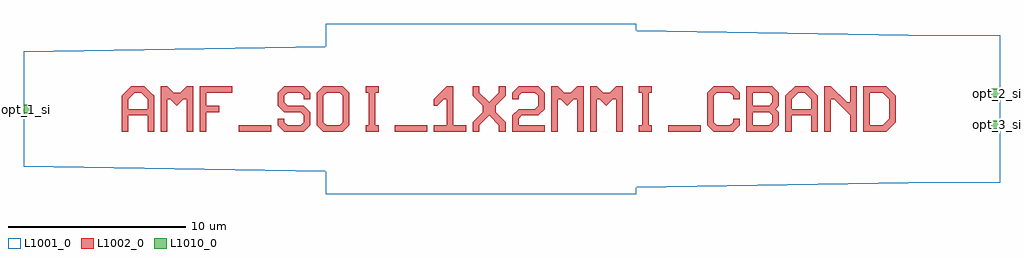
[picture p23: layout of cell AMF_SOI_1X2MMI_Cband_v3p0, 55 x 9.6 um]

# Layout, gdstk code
import gdstk
lib = gdstk.Library(unit=1e-6, precision=1e-09)
def R(c, l, rs):  # rectangles x0, y0, x1, y1
    for r in rs: c.add(gdstk.rectangle(r[:2], r[2:], *l))
def P(c, l, *ps):  # polygons
    for p in ps: c.add(gdstk.Polygon(p, *l))
L1001_0 = (1001, 0)
L1002_0 = (1002, 0)
L1010_0 = (1010, 0)

amf_soi_1x2mmi_cband_v3p = lib.new_cell('AMF_SOI_1X2MMI_Cband_v3p0')
P(amf_soi_1x2mmi_cband_v3p, L1001_0, [(17,-4.8),(17,-3.548),(0,-3.251),(0,3.25),(17,3.548),(17,4.8),(34.5,4.8),(34.5,4.448),(51.552,4.15),(55,4.15),(55,-4.15),(51.552,-4.15),(34.5,-4.448),(34.5,-4.8)])
R(amf_soi_1x2mmi_cband_v3p, L1002_0, [(12.1,-1.283,13.934,-0.916), (20.9,-1.283,22.734,-0.916), (36.3,-1.283,38.134,-0.916)])
P(amf_soi_1x2mmi_cband_v3p, L1002_0, [(5.5,-1.283),(5.5,0.734),(6.05,1.284),(6.783,1.284),(7.15,0.917),(6.233,0.917),(5.867,0.551),(5.867,0),(6.967,0),(6.967,0.551),(6.6,0.917),(7.15,0.917),(7.334,0.734),(7.334,-1.283),(6.967,-1.283),(6.967,-0.366),(5.867,-0.366),(5.867,-1.283)],
  [(7.7,-1.283),(7.7,1.284),(8.067,1.284),(8.433,0.917),(8.8,0.917),(9.167,1.284),(9.534,1.284),(9.534,-1.283),(9.167,-1.283),(9.167,0.551),(8.983,0.551),(8.617,0.184),(8.25,0.551),(8.067,0.551),(8.067,-1.283)],
  [(9.9,-1.283),(9.9,1.284),(11.734,1.284),(11.734,0.917),(10.267,0.917),(10.267,0.184),(11,0.184),(11,-0.183),(10.267,-0.183),(10.267,-1.283)],
  [(14.667,-1.283),(14.3,-0.916),(14.3,-0.55),(14.667,-0.55),(14.667,-0.733),(14.85,-0.916),(15.583,-0.916),(15.767,-0.733),(15.767,-0.366),(15.583,-0.183),(14.667,-0.183),(14.3,0.184),(14.3,0.917),(14.667,1.284),(15.767,1.284),(16.134,0.917),(16.134,0.551),(15.767,0.551),(15.767,0.734),(15.583,0.917),(14.85,0.917),(14.667,0.734),(14.667,0.367),(14.85,0.184),(15.767,0.184),(16.134,-0.183),(16.134,-0.916),(15.767,-1.283)],
  [(16.867,-1.283),(16.5,-0.916),(16.5,0.917),(16.867,1.284),(17.967,1.284),(18.334,0.917),(18.334,0),(17.967,0),(17.967,0.734),(17.783,0.917),(17.05,0.917),(16.867,0.734),(16.867,-0.733),(17.05,-0.916),(17.783,-0.916),(17.967,-0.733),(17.967,0),(18.334,0),(18.334,-0.916),(17.967,-1.283)],
  [(19.25,-1.283),(19.25,-0.916),(19.433,-0.916),(19.433,0.917),(19.25,0.917),(19.25,1.284),(19.983,1.284),(19.983,0.917),(19.8,0.917),(19.8,-0.916),(19.983,-0.916),(19.983,-1.283)],
  [(23.1,-1.283),(23.1,-0.916),(23.833,-0.916),(23.833,0.551),(23.65,0.551),(23.283,0.184),(23.1,0.184),(23.1,0.551),(23.833,1.284),(24.2,1.284),(24.2,-0.916),(24.934,-0.916),(24.934,-1.283)],
  [(25.3,-1.283),(25.3,-0.733),(25.85,-0.183),(25.85,0.184),(25.3,0.734),(25.3,1.284),(25.667,1.284),(25.667,0.917),(26.217,0.367),(26.767,0.917),(26.767,1.284),(27.134,1.284),(27.134,0.734),(26.583,0.184),(26.583,-0.183),(27.134,-0.733),(27.134,-1.283),(26.767,-1.283),(26.767,-0.916),(26.217,-0.366),(25.667,-0.916),(25.667,-1.283)],
  [(27.5,-1.283),(27.5,-0.366),(27.867,0),(28.783,0),(28.967,0.184),(28.967,0.734),(28.783,0.917),(28.05,0.917),(27.867,0.734),(27.867,0.551),(27.5,0.551),(27.5,0.917),(27.867,1.284),(28.967,1.284),(29.334,0.917),(29.334,0),(28.967,-0.366),(28.05,-0.366),(27.867,-0.55),(27.867,-0.916),(29.334,-0.916),(29.334,-1.283)],
  [(29.7,-1.283),(29.7,1.284),(30.067,1.284),(30.433,0.917),(30.8,0.917),(31.167,1.284),(31.534,1.284),(31.534,-1.283),(31.167,-1.283),(31.167,0.551),(30.983,0.551),(30.617,0.184),(30.25,0.551),(30.067,0.551),(30.067,-1.283)],
  [(31.9,-1.283),(31.9,1.284),(32.267,1.284),(32.633,0.917),(33,0.917),(33.367,1.284),(33.734,1.284),(33.734,-1.283),(33.367,-1.283),(33.367,0.551),(33.183,0.551),(32.817,0.184),(32.45,0.551),(32.267,0.551),(32.267,-1.283)],
  [(34.65,-1.283),(34.65,-0.916),(34.833,-0.916),(34.833,0.917),(34.65,0.917),(34.65,1.284),(35.383,1.284),(35.383,0.917),(35.2,0.917),(35.2,-0.916),(35.383,-0.916),(35.383,-1.283)],
  [(38.867,-1.283),(38.5,-0.916),(38.5,0.917),(38.867,1.284),(39.967,1.284),(40.334,0.917),(40.334,0.551),(39.967,0.551),(39.967,0.734),(39.783,0.917),(39.05,0.917),(38.867,0.734),(38.867,-0.733),(39.05,-0.916),(39.783,-0.916),(39.967,-0.733),(39.967,-0.55),(40.334,-0.55),(40.334,-0.916),(39.967,-1.283)],
  [(40.7,-1.283),(40.7,1.284),(42.167,1.284),(42.534,0.917),(41.067,0.917),(41.067,0.184),(41.983,0.184),(42.167,0.367),(42.167,0.734),(41.983,0.917),(42.534,0.917),(42.534,0.184),(42.35,0),(42.534,-0.183),(41.067,-0.183),(41.067,-0.916),(41.983,-0.916),(42.167,-0.733),(42.167,-0.366),(41.983,-0.183),(42.534,-0.183),(42.534,-0.916),(42.167,-1.283)],
  [(42.9,-1.283),(42.9,0.734),(43.45,1.284),(44.183,1.284),(44.55,0.917),(43.633,0.917),(43.267,0.551),(43.267,0),(44.367,0),(44.367,0.551),(44,0.917),(44.55,0.917),(44.734,0.734),(44.734,-1.283),(44.367,-1.283),(44.367,-0.366),(43.267,-0.366),(43.267,-1.283)],
  [(45.1,-1.283),(45.1,1.284),(45.467,1.284),(46.383,0.367),(46.567,0.367),(46.567,1.284),(46.934,1.284),(46.934,-1.283),(46.567,-1.283),(46.567,-0.366),(45.65,0.551),(45.467,0.551),(45.467,-1.283)],
  [(47.3,-1.283),(47.3,1.284),(48.583,1.284),(48.95,0.917),(47.667,0.917),(47.667,-0.916),(48.4,-0.916),(48.767,-0.55),(48.767,0.551),(48.4,0.917),(48.95,0.917),(49.134,0.734),(49.134,-0.733),(48.583,-1.283)])
R(amf_soi_1x2mmi_cband_v3p, L1010_0, [(54.5,-1.15,55,-0.65), (0,-0.25,0.5,0.25), (54.5,0.65,55,1.15)])
amf_soi_1x2mmi_cband_v3p.add(gdstk.Label('opt_2_si', (55,0.9), layer=1010, texttype=0))
amf_soi_1x2mmi_cband_v3p.add(gdstk.Label('opt_3_si', (55,-0.9), layer=1010, texttype=0))
amf_soi_1x2mmi_cband_v3p.add(gdstk.Label('opt_1_si', (0,0), layer=1010, texttype=0))

lib.write_gds('AMF_SOI_1X2MMI_Cband_v3p0.gds')
